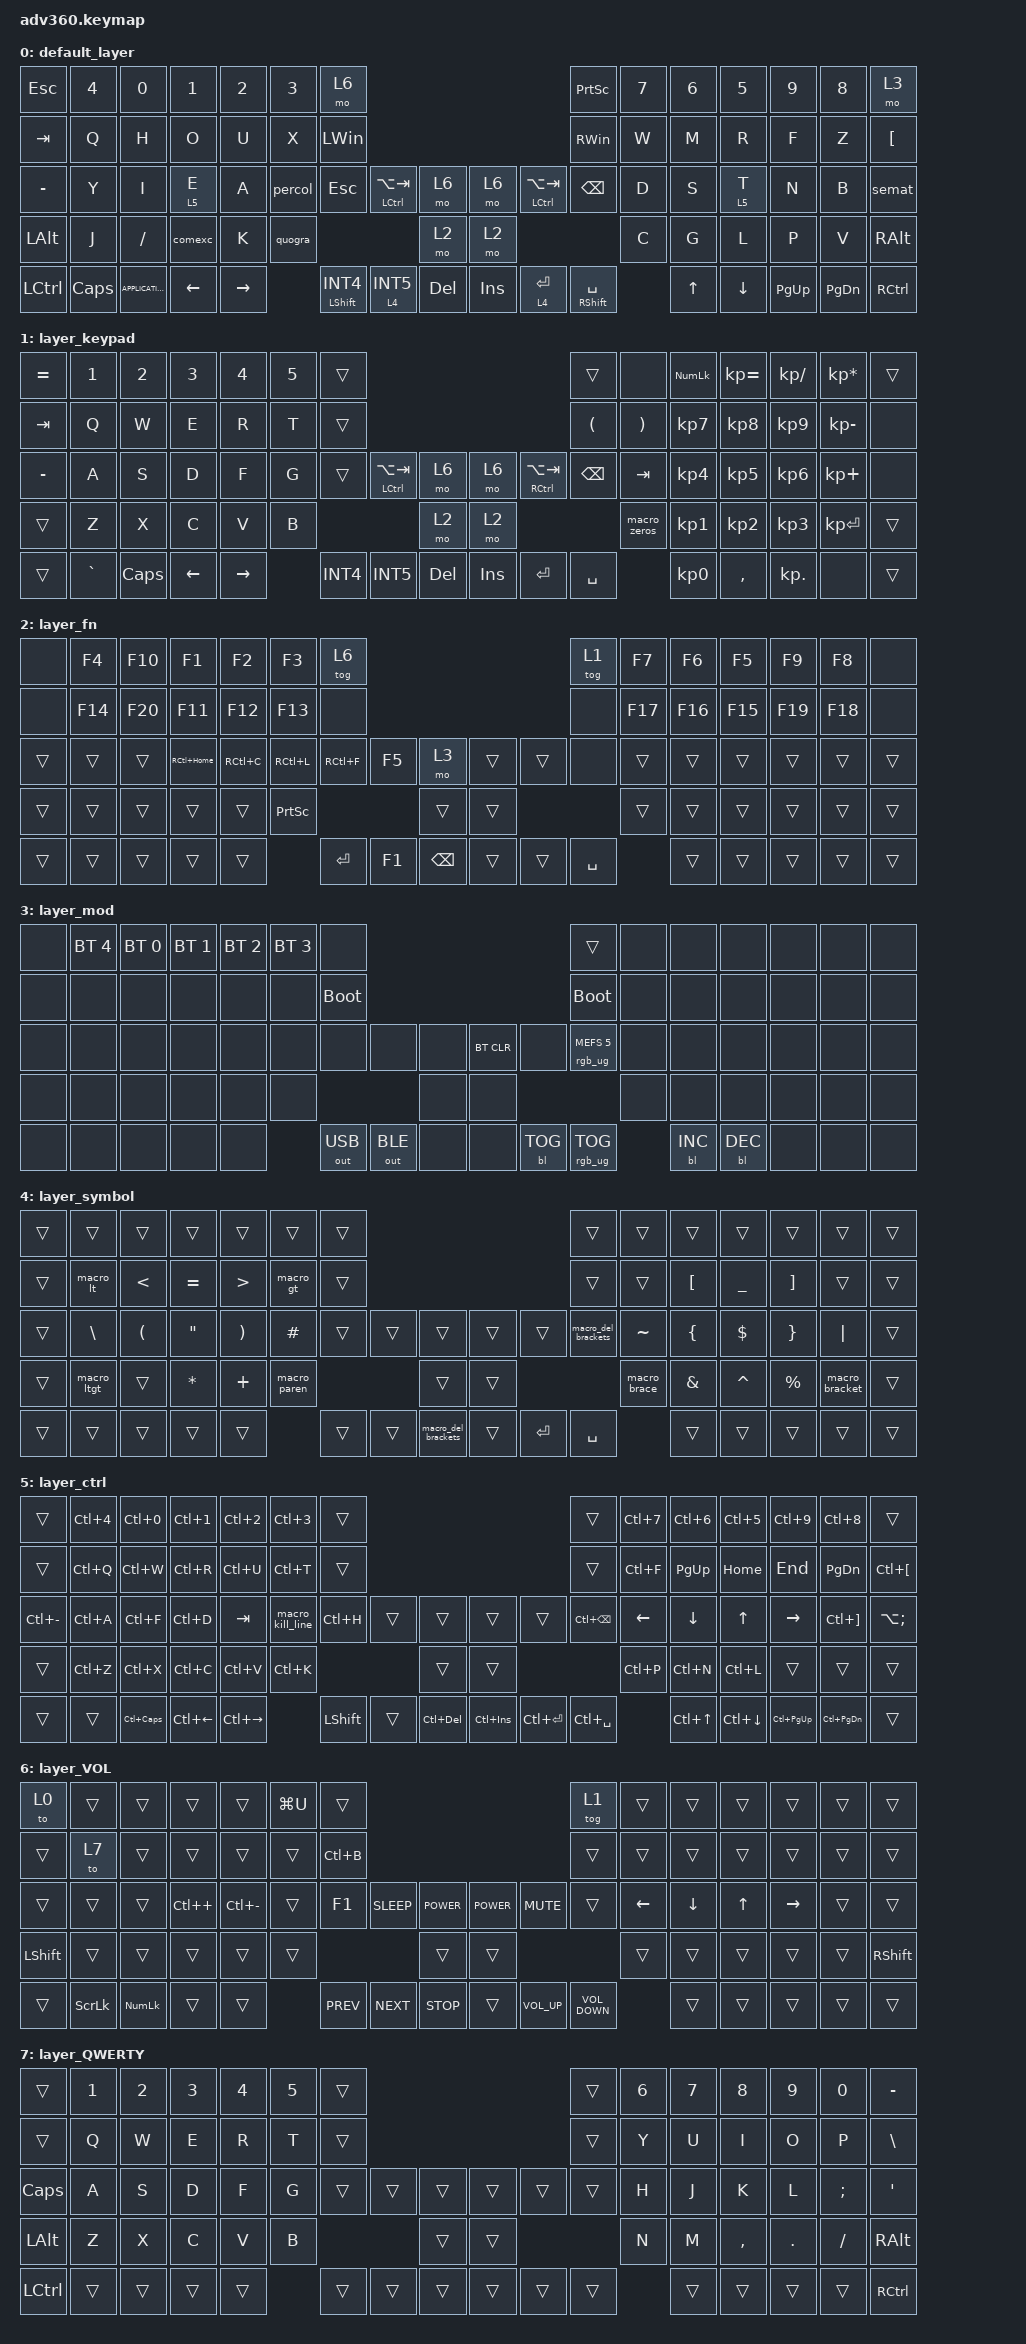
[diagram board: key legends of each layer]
/*
 * Copyright (c) 2020 The ZMK Contributors
 *
 * SPDX-License-Identifier: MIT
 */
/* THIS FILE WAS GENERATED!
 *
 * This file was generated automatically. You may or may not want to
 * edit it directly.
 */

#include <dt-bindings/zmk/stp.h>
#include <behaviors.dtsi>
#include <dt-bindings/zmk/backlight.h>
#include <dt-bindings/zmk/bt.h>
#include <dt-bindings/zmk/keys.h>
#include <dt-bindings/zmk/outputs.h>
#include <dt-bindings/zmk/rgb.h>

&lt {
    tapping-term-ms = <250>;
    flavor = "hold-preferred";
};

&mt { tapping-term-ms = <250>; };

/ {
    behaviors {
        #include "macros.dtsi"
      #include "version.dtsi"

        hm: homerow_mods {
            compatible = "zmk,behavior-hold-tap";
            label = "HOMEROW_MODS";
            #binding-cells = <2>;
            tapping-term-ms = <200>;
            flavor = "tap-preferred";
            bindings = <&mo>, <&kp>;

            quick-tap-ms = <240>;
            require-prior-idle-ms = <175>;
        };

        percol: percol {
            compatible = "zmk,behavior-mod-morph";
            label = "PERCOL";
            bindings = <&kp PERIOD>, <&kp COLON>;

            #binding-cells = <0>;
            mods = <(MOD_LSFT|MOD_RSFT)>;
        };

        comexc: comexc {
            compatible = "zmk,behavior-mod-morph";
            label = "COMEXC";
            bindings = <&kp COMMA>, <&kp EXCL>;

            #binding-cells = <0>;
            mods = <(MOD_LSFT|MOD_RSFT)>;
        };

        quogra: quogra {
            compatible = "zmk,behavior-mod-morph";
            label = "QUOGRA";
            bindings = <&kp SINGLE_QUOTE>, <&kp GRAVE>;

            #binding-cells = <0>;
            mods = <(MOD_LSFT|MOD_RSFT)>;
        };

        semat: semat {
            compatible = "zmk,behavior-mod-morph";
            label = "SEMAT";
            bindings = <&kp SEMI>, <&kp AT>;

            #binding-cells = <0>;
            mods = <(MOD_LSFT|MOD_RSFT)>;
        };
    };

    macros {
        macro_del_brackets: macro_del_brackets {
            compatible = "zmk,behavior-macro";
            #binding-cells = <0>;
            bindings = <&kp RIGHT &kp BSPC &kp BSPC>;
            label = "MACRO_DEL_BRACKETS";
        };

        macro_kill_word: macro_kill_word {
            compatible = "zmk,behavior-macro";
            label = "macro_kill_word";
            #binding-cells = <0>;
            bindings = <&kp LS(LC(LEFT)) &kp LC(X)>;
        };

        macro_bracket: macro_bracket {
            compatible = "zmk,behavior-macro";
            label = "macro_bracket";
            #binding-cells = <0>;
            bindings = <&kp LEFT_BRACKET &kp RIGHT_BRACKET &kp LEFT>;
        };

        macro_gt: macro_gt {
            compatible = "zmk,behavior-macro";
            label = "macro_gt";
            #binding-cells = <0>;
            bindings = <&kp GT &kp GT>;
        };

        macro_lt: macro_lt {
            compatible = "zmk,behavior-macro";
            label = "macro_lt";
            #binding-cells = <0>;
            bindings = <&kp LT &kp LT>;
        };

        macro_ltgt: macro_ltgt {
            compatible = "zmk,behavior-macro";
            label = "macro_ltgt";
            #binding-cells = <0>;
            bindings = <&kp LT &kp GT &kp LEFT>;
        };

        macro_paren: macro_paren {
            compatible = "zmk,behavior-macro";
            label = "macro_paren";
            #binding-cells = <0>;
            bindings = <&kp LEFT_PARENTHESIS &kp RIGHT_PARENTHESIS &kp LEFT>;
        };

        macro_brace: macro_brace {
            compatible = "zmk,behavior-macro";
            label = "macro_brace";
            #binding-cells = <0>;
            bindings = <&kp LEFT_BRACE &kp RIGHT_BRACE &kp LEFT>;
        };

        macro_kill_line: macro_kill_line {
            compatible = "zmk,behavior-macro";
            label = "macro_kill_line";
            #binding-cells = <0>;
            bindings = <&kp HOME &kp LS(END) &kp LC(X)>;
        };

        macro_zeros: macro_zeros {
            compatible = "zmk,behavior-macro";
            label = "macro_zeros";
            #binding-cells = <0>;
            bindings = <&kp KP_NUMBER_0 &kp KP_NUMBER_0 &kp KP_NUMBER_0>;
        };
    };

    keymap {
        compatible = "zmk,keymap";

        default_layer {
            bindings = <
&kp ESC    &kp N4        &kp N0             &kp N1    &kp N2     &kp N3   &mo 6                                                                       &kp PRINTSCREEN   &kp N7  &kp N6  &kp N5    &kp N9       &kp N8         &mo 3
&kp TAB    &kp Q         &kp H              &kp O     &kp U      &kp X    &kp LEFT_WIN                                                                &kp RIGHT_WIN     &kp W   &kp M   &kp R     &kp F        &kp Z          &kp LEFT_BRACKET
&kp MINUS  &kp Y         &kp I              &hm 5 E   &kp A      &percol  &kp ESC         &mt LCTRL LA(TAB)  &mo 6        &mo 6    &mt LCTRL LA(TAB)  &kp BSPC          &kp D   &kp S   &hm 5 T   &kp N        &kp B          &semat
&kp LALT   &kp J         &kp SLASH          &comexc   &kp K      &quogra                                     &mo 2        &mo 2                                         &kp C   &kp G   &kp L     &kp P        &kp V          &kp RIGHT_ALT
&kp LCTRL  &kp CAPSLOCK  &kp K_APPLICATION  &kp LEFT  &kp RIGHT           &mt LSHFT INT4  &lt 4 INT5         &kp DEL      &kp INS  &lt 4 ENTER        &mt RSHIFT SPACE          &kp UP  &kp DOWN  &kp PAGE_UP  &kp PAGE_DOWN  &kp RCTRL
            >;
        };

        layer_keypad {
            bindings = <
&kp EQUAL  &kp N1     &kp N2    &kp N3    &kp N4     &kp N5  &trans                                                                &trans                &none                  &kp KP_NUM  &kp KP_EQUAL  &kp KP_DIVIDE  &kp KP_MULTIPLY  &trans
&kp TAB    &kp Q      &kp W     &kp E     &kp R      &kp T   &trans                                                                &kp LEFT_PARENTHESIS  &kp RIGHT_PARENTHESIS  &kp KP_N7   &kp KP_N8     &kp KP_N9      &kp KP_MINUS     &none
&kp MINUS  &kp A      &kp S     &kp D     &kp F      &kp G   &trans    &mt LCTRL LA(TAB)  &mo 6        &mo 6    &mt RCTRL LA(TAB)  &kp BSPC              &kp TAB                &kp KP_N4   &kp KP_N5     &kp KP_N6      &kp KP_PLUS      &none
&trans     &kp Z      &kp X     &kp C     &kp V      &kp B                                &mo 2        &mo 2                                             &macro_zeros           &kp KP_N1   &kp KP_N2     &kp KP_N3      &kp KP_ENTER     &trans
&trans     &kp GRAVE  &kp CAPS  &kp LEFT  &kp RIGHT          &kp INT4  &kp INT5           &kp DEL      &kp INS  &kp ENTER          &kp SPACE                                    &kp KP_N0   &kp COMMA     &kp KP_DOT     &none            &trans
            >;
        };

        layer_fn {
            bindings = <
&none   &kp F4   &kp F10  &kp F1        &kp F2     &kp F3           &tog 6                                           &tog 1     &kp F7   &kp F6   &kp F5   &kp F9   &kp F8   &none
&none   &kp F14  &kp F20  &kp F11       &kp F12    &kp F13          &none                                            &none      &kp F17  &kp F16  &kp F15  &kp F19  &kp F18  &none
&trans  &trans   &trans   &kp RC(HOME)  &kp RC(C)  &kp RC(L)        &kp RC(F)  &kp F5  &mo 3         &trans  &trans  &none      &trans   &trans   &trans   &trans   &trans   &trans
&trans  &trans   &trans   &trans        &trans     &kp PRINTSCREEN                     &trans        &trans                     &trans   &trans   &trans   &trans   &trans   &trans
&trans  &trans   &trans   &trans        &trans                      &kp ENTER  &kp F1  &kp BSPC      &trans  &trans  &kp SPACE           &trans   &trans   &trans   &trans   &trans
            >;
        };

        layer_mod {
            bindings = <
&none  &bt BT_SEL 4  &bt BT_SEL 0  &bt BT_SEL 1  &bt BT_SEL 2  &bt BT_SEL 3  &none                                                          &trans                  &none  &none       &none       &none  &none  &none
&none  &none         &none         &none         &none         &none         &bootloader                                                    &bootloader             &none  &none       &none       &none  &none  &none
&none  &none         &none         &none         &none         &none         &none         &none         &none      &bt BT_CLR  &none       &rgb_ug RGB_MEFS_CMD 5  &none  &none       &none       &none  &none  &none
&none  &none         &none         &none         &none         &none                                     &none      &none                                           &none  &none       &none       &none  &none  &none
&none  &none         &none         &none         &none                       &out OUT_USB  &out OUT_BLE  &none      &none       &bl BL_TOG  &rgb_ug RGB_TOG                &bl BL_INC  &bl BL_DEC  &none  &none  &none
            >;
        };

        layer_symbol {
            bindings = <
&trans  &trans         &trans                &trans             &trans                 &trans        &trans                                                      &trans               &trans        &trans            &trans          &trans             &trans          &trans
&trans  &macro_lt      &kp LESS_THAN         &kp EQUAL          &kp GREATER_THAN       &macro_gt     &trans                                                      &trans               &trans        &kp LEFT_BRACKET  &kp UNDERSCORE  &kp RIGHT_BRACKET  &trans          &trans
&trans  &kp BACKSLASH  &kp LEFT_PARENTHESIS  &kp DOUBLE_QUOTES  &kp RIGHT_PARENTHESIS  &kp HASH      &trans  &trans  &trans                   &trans  &trans     &macro_del_brackets  &kp TILDE     &kp LEFT_BRACE    &kp DOLLAR      &kp RIGHT_BRACE    &kp PIPE        &trans
&trans  &macro_ltgt    &trans                &kp ASTRK          &kp PLUS               &macro_paren                  &trans                   &trans                                  &macro_brace  &kp AMPERSAND     &kp CARET       &kp PRCNT          &macro_bracket  &trans
&trans  &trans         &trans                &trans             &trans                               &trans  &trans  &macro_del_brackets      &trans  &kp ENTER  &kp SPACE                          &trans            &trans          &trans             &trans          &trans
            >;
        };

        layer_ctrl {
            bindings = <
&trans         &kp LC(N4)  &kp LC(N0)    &kp LC(N1)    &kp LC(N2)     &kp LC(N3)        &trans                                                          &trans         &kp LC(N7)  &kp LC(N6)  &kp LC(N5)    &kp LC(N9)       &kp LC(N8)             &trans
&trans         &kp LC(Q)   &kp LC(W)     &kp LC(R)     &kp LC(U)      &kp LC(T)         &trans                                                          &trans         &kp LC(F)   &kp PG_UP   &kp HOME      &kp END          &kp PG_DN              &kp LC(LEFT_BRACKET)
&kp LC(MINUS)  &kp LC(A)   &kp LC(F)     &kp LC(D)     &kp TAB        &macro_kill_line  &kp LC(H)  &trans  &trans           &trans       &trans         &kp LC(BSPC)   &kp LEFT    &kp DOWN    &kp UP        &kp RIGHT        &kp LC(RIGHT_BRACKET)  &kp LA(SEMI)
&trans         &kp LC(Z)   &kp LC(X)     &kp LC(C)     &kp LC(V)      &kp LC(K)                            &trans           &trans                                     &kp LC(P)   &kp LC(N)   &kp LC(L)     &trans           &trans                 &trans
&trans         &trans      &kp LC(CAPS)  &kp LC(LEFT)  &kp LC(RIGHT)                    &kp LSHFT  &trans  &kp LC(DEL)      &kp LC(INS)  &kp LC(ENTER)  &kp LC(SPACE)              &kp LC(UP)  &kp LC(DOWN)  &kp LC(PAGE_UP)  &kp LC(PAGE_DOWN)      &trans
            >;
        };

        layer_VOL {
            bindings = <
&to 0      &trans          &trans          &trans        &trans         &kp LG(U)  &trans                                                                  &tog 1             &trans    &trans    &trans  &trans     &trans  &trans
&trans     &to 7           &trans          &trans        &trans         &trans     &kp LC(B)                                                               &trans             &trans    &trans    &trans  &trans     &trans  &trans
&trans     &trans          &trans          &kp LC(PLUS)  &kp LC(MINUS)  &trans     &kp F1      &kp K_SLEEP  &kp K_POWER      &kp K_POWER  &kp K_MUTE       &trans             &kp LEFT  &kp DOWN  &kp UP  &kp RIGHT  &trans  &trans
&kp LSHFT  &trans          &trans          &trans        &trans         &trans                              &trans           &trans                                           &trans    &trans    &trans  &trans     &trans  &kp RSHIFT
&trans     &kp SCROLLLOCK  &kp KP_NUMLOCK  &trans        &trans                    &kp K_PREV  &kp K_NEXT   &kp K_STOP       &trans       &kp K_VOLUME_UP  &kp K_VOLUME_DOWN            &trans    &trans  &trans     &trans  &trans
            >;
        };

        layer_QWERTY {
            bindings = <
&trans        &kp N1  &kp NUMBER_2  &kp NUMBER_3  &kp NUMBER_4  &kp N5  &trans                                      &trans  &kp NUMBER_6  &kp N7  &kp N8     &kp N9      &kp N0         &kp MINUS
&trans        &kp Q   &kp W         &kp E         &kp R         &kp T   &trans                                      &trans  &kp Y         &kp U   &kp I      &kp O       &kp P          &kp BACKSLASH
&kp CAPSLOCK  &kp A   &kp S         &kp D         &kp F         &kp G   &trans  &trans  &trans      &trans  &trans  &trans  &kp H         &kp J   &kp K      &kp L       &kp SEMICOLON  &kp SQT
&kp LALT      &kp Z   &kp X         &kp C         &kp V         &kp B                   &trans      &trans                  &kp N         &kp M   &kp COMMA  &kp PERIOD  &kp SLASH      &kp RALT
&kp LCTRL     &trans  &trans        &trans        &trans                &trans  &trans  &trans      &trans  &trans  &trans                &trans  &trans     &trans      &trans         &kp RCTRL
            >;
        };
    };
};
